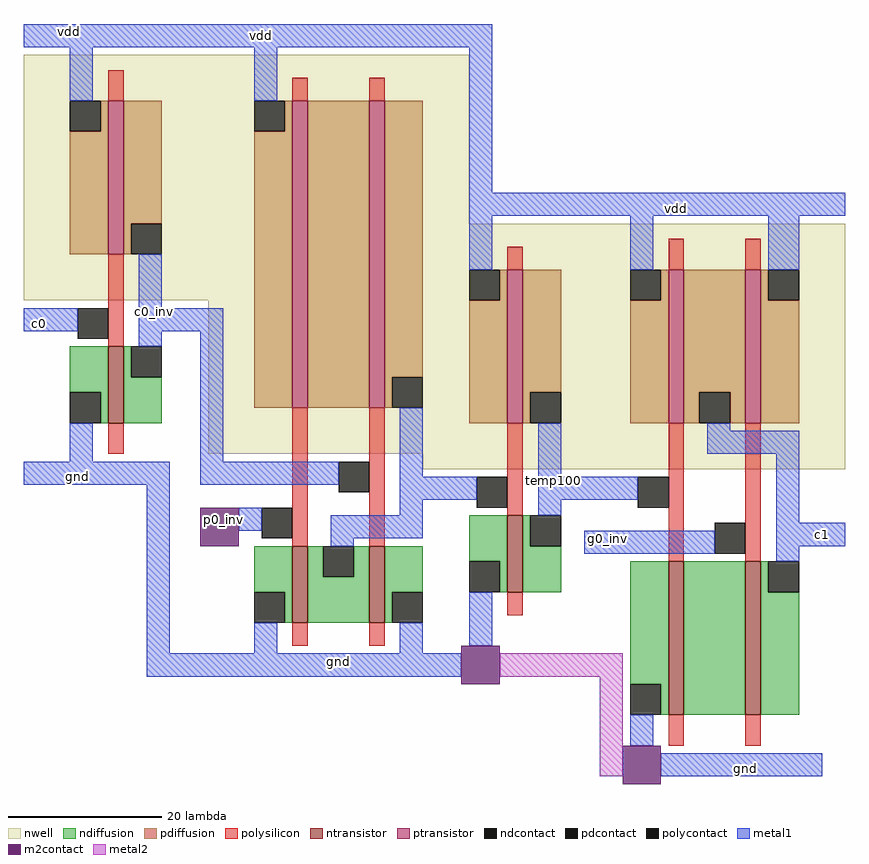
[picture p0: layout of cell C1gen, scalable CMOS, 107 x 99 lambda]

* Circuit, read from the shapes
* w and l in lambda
.subckt C1gen c0 c0_inv c1 g0_inv gnd p0_inv temp100 vdd
M1 c0_inv c0 gnd VSUBS nfet w=10 l=2
M2 n1 p0_inv gnd VSUBS nfet w=10 l=2
M3 gnd c0_inv n1 VSUBS nfet w=10 l=2
M4 temp100 n1 gnd VSUBS nfet w=10 l=2
M5 n2 temp100 gnd VSUBS nfet w=20 l=2
M6 c1 g0_inv n2 VSUBS nfet w=20 l=2
M7 c0_inv c0 vdd n3 pfet w=20 l=2
M8 n4 p0_inv vdd n3 pfet w=40 l=2
M9 n1 c0_inv n4 n3 pfet w=40 l=2
M10 temp100 n1 vdd n3 pfet w=20 l=2
M11 c1 temp100 vdd n3 pfet w=20 l=2
M12 vdd g0_inv c1 n3 pfet w=20 l=2
.ends

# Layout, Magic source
magic
tech scmos
<< nwell >>
rect -51 41 7 63
rect -51 31 56 41
rect -27 11 56 31
rect 1 9 56 11
<< ntransistor >>
rect -40 15 -38 25
rect -16 -11 -14 -1
rect -6 -11 -4 -1
rect 12 -7 14 3
rect 33 -23 35 -3
rect 43 -23 45 -3
<< ptransistor >>
rect -40 37 -38 57
rect -16 17 -14 57
rect -6 17 -4 57
rect 12 15 14 35
rect 33 15 35 35
rect 43 15 45 35
<< ndiffusion >>
rect -45 19 -40 25
rect -41 15 -40 19
rect -38 21 -37 25
rect -38 15 -33 21
rect -21 -7 -16 -1
rect -17 -11 -16 -7
rect -14 -5 -12 -1
rect -8 -5 -6 -1
rect -14 -11 -6 -5
rect -4 -7 1 -1
rect 7 -3 12 3
rect 11 -7 12 -3
rect 14 -1 15 3
rect 14 -7 19 -1
rect -4 -11 -3 -7
rect 28 -19 33 -3
rect 32 -23 33 -19
rect 35 -23 43 -3
rect 45 -7 46 -3
rect 45 -23 50 -7
<< pdiffusion >>
rect -41 53 -40 57
rect -45 37 -40 53
rect -38 41 -33 57
rect -38 37 -37 41
rect -17 53 -16 57
rect -21 17 -16 53
rect -14 17 -6 57
rect -4 21 1 57
rect -4 17 -3 21
rect 11 31 12 35
rect 7 15 12 31
rect 14 19 19 35
rect 14 15 15 19
rect 32 31 33 35
rect 28 15 33 31
rect 35 19 43 35
rect 35 15 37 19
rect 41 15 43 19
rect 45 31 46 35
rect 45 15 50 31
<< ndcontact >>
rect -45 15 -41 19
rect -37 21 -33 25
rect -21 -11 -17 -7
rect -12 -5 -8 -1
rect 7 -7 11 -3
rect 15 -1 19 3
rect -3 -11 1 -7
rect 28 -23 32 -19
rect 46 -7 50 -3
<< pdcontact >>
rect -45 53 -41 57
rect -37 37 -33 41
rect -21 53 -17 57
rect -3 17 1 21
rect 7 31 11 35
rect 15 15 19 19
rect 28 31 32 35
rect 37 15 41 19
rect 46 31 50 35
<< polysilicon >>
rect -40 57 -38 61
rect -16 57 -14 60
rect -6 57 -4 60
rect -40 25 -38 37
rect 12 35 14 38
rect 33 35 35 39
rect 43 35 45 39
rect -40 11 -38 15
rect -16 -1 -14 17
rect -6 -1 -4 17
rect 12 3 14 15
rect 33 -3 35 15
rect 43 -3 45 15
rect 12 -10 14 -7
rect -16 -14 -14 -11
rect -6 -14 -4 -11
rect 33 -27 35 -23
rect 43 -27 45 -23
<< polycontact >>
rect -44 26 -40 30
rect -20 0 -16 4
rect -10 6 -6 10
rect 8 4 12 8
rect 29 4 33 8
rect 39 -2 43 2
<< metal1 >>
rect -51 64 10 67
rect -45 57 -42 64
rect -21 57 -18 64
rect 7 45 10 64
rect 7 42 56 45
rect -36 30 -33 37
rect 7 35 10 42
rect 28 35 31 42
rect 46 35 50 42
rect -51 27 -44 30
rect -36 27 -25 30
rect -36 25 -33 27
rect -45 10 -42 15
rect -28 10 -25 27
rect -51 7 -32 10
rect -28 7 -10 10
rect -35 -15 -32 7
rect -2 8 1 17
rect 16 8 19 15
rect 38 14 41 15
rect 38 11 50 14
rect -2 5 8 8
rect -23 1 -20 4
rect -2 3 1 5
rect 16 5 29 8
rect 16 3 19 5
rect -11 0 1 3
rect -11 -1 -8 0
rect 47 2 50 11
rect 22 -2 39 1
rect 47 -1 56 2
rect 47 -3 50 -1
rect -21 -15 -18 -11
rect -2 -15 1 -11
rect 7 -14 10 -7
rect -35 -18 6 -15
rect 28 -27 31 -23
rect 32 -31 53 -28
<< m2contact >>
rect -28 -1 -23 4
rect 6 -19 11 -14
rect 27 -32 32 -27
<< metal2 >>
rect 11 -18 27 -15
rect 24 -31 27 -18
<< labels >>
rlabel metal1 -45 66 -45 66 5 vdd
rlabel metal1 -44 8 -44 8 1 gnd
rlabel metal1 -50 27 -48 29 3 c0
rlabel metal1 -35 28 -33 31 1 c0_inv
rlabel metal1 -10 -16 -10 -16 1 gnd
rlabel metal1 -20 65 -20 66 5 vdd
rlabel metal1 17 6 19 9 1 temp100
rlabel m2contact -27 2 -23 3 1 p0_inv
rlabel metal1 34 43 34 43 5 vdd
rlabel metal1 43 -30 43 -30 1 gnd
rlabel metal1 23 -1 27 1 1 g0_inv
rlabel metal1 50 -1 56 2 7 c1
<< end >>
